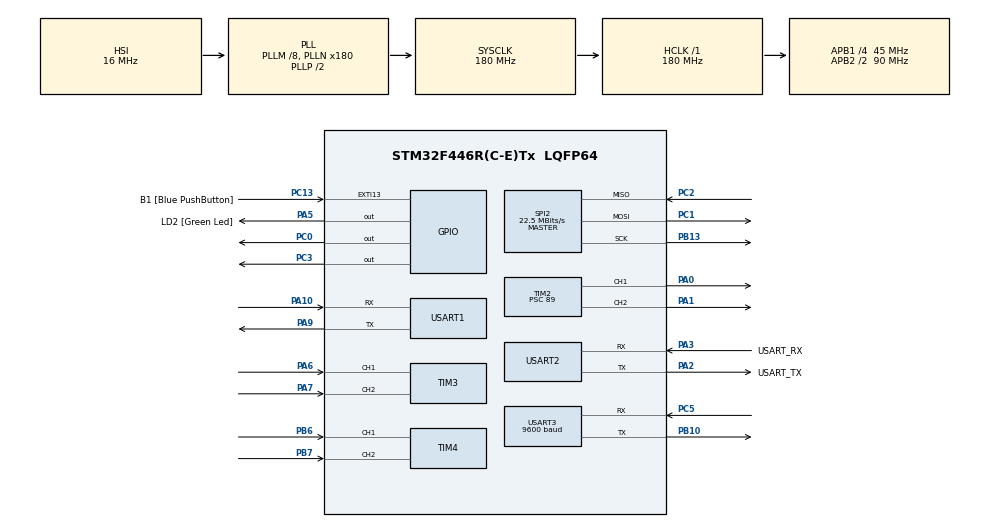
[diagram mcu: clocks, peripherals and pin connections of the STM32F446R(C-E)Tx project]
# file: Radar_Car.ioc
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Dma.Request0=USART3_TX
Dma.Request1=USART3_RX
Dma.USART3_RX.1.Direction=DMA_PERIPH_TO_MEMORY
Dma.USART3_RX.1.FIFOMode=DMA_FIFOMODE_DISABLE
Dma.USART3_RX.1.Instance=DMA1_Stream1
Dma.USART3_RX.1.MemDataAlignment=DMA_MDATAALIGN_BYTE
Dma.USART3_RX.1.MemInc=DMA_MINC_ENABLE
Dma.USART3_RX.1.Mode=DMA_NORMAL
Dma.USART3_RX.1.PeriphDataAlignment=DMA_PDATAALIGN_BYTE
Dma.USART3_RX.1.PeriphInc=DMA_PINC_DISABLE
Dma.USART3_RX.1.Priority=DMA_PRIORITY_LOW
Dma.USART3_TX.0.Direction=DMA_MEMORY_TO_PERIPH
Dma.USART3_TX.0.FIFOMode=DMA_FIFOMODE_DISABLE
Dma.USART3_TX.0.Instance=DMA1_Stream3
Dma.USART3_TX.0.MemDataAlignment=DMA_MDATAALIGN_BYTE
Dma.USART3_TX.0.MemInc=DMA_MINC_ENABLE
Dma.USART3_TX.0.Mode=DMA_NORMAL
Dma.USART3_TX.0.PeriphDataAlignment=DMA_PDATAALIGN_BYTE
Dma.USART3_TX.0.PeriphInc=DMA_PINC_DISABLE
Dma.USART3_TX.0.Priority=DMA_PRIORITY_LOW
FREERTOS.Mutexes01=SPI_Mutex,Dynamic,NULL,Available;UART_Mutex,Dynamic,NULL,Available
FREERTOS.Queues01=imuQueue,10,uint16_t,0,Dynamic,NULL,NULL;lidarQueue,5,uint16_t,0,Dynamic,NULL,NULL;odomQueue,10,uint16_t,0,Dynamic,NULL,NULL;cmdQueue,5,uint16_t,0,Dynamic,NULL,NULL
FREERTOS.Tasks01=defaultTask,24,128,StartDefaultTask,Default,NULL,Dynamic,NULL,NULL;ImuTask,40,256,imuTask,Default,NULL,Dynamic,NULL,NULL;LidarTask,24,512,lidarTask,Default,NULL,Dynamic,NULL,NULL;OdomTask,24,256,odomTask,Default,NULL,Dynamic,NULL,NULL;MotorCtrlTask,8,256,motorCtrlTask,Default,NULL,Dynamic,NULL,NULL;CommTask,8,512,commTask,Default,NULL,Dynamic,NULL,NULL
Mcu.Family=STM32F4
Mcu.Name=STM32F446R(C-E)Tx
Mcu.Package=LQFP64
NVIC.DMA1_Stream1_IRQn=true\:5\:0\:false\:false\:true\:true\:false\:true\:true
NVIC.DMA1_Stream3_IRQn=true\:5\:0\:false\:false\:true\:true\:false\:true\:true
NVIC.PriorityGroup=NVIC_PRIORITYGROUP_4
NVIC.TIM6_DAC_IRQn=true\:15\:0\:false\:false\:true\:false\:false\:true\:true
NVIC.TimeBase=TIM6_DAC_IRQn
NVIC.TimeBaseIP=TIM6
NVIC.USART3_IRQn=true\:5\:0\:false\:false\:true\:true\:true\:true\:true
PA0-WKUP.Signal=S_TIM2_CH1_ETR
PA1.Signal=S_TIM2_CH2
PA10.Mode=Asynchronous
PA10.Signal=USART1_RX
PA13.GPIO_Label=TMS
PA13.Signal=SYS_JTMS-SWDIO
PA14.GPIO_Label=TCK
PA14.Signal=SYS_JTCK-SWCLK
PA2.GPIO_Label=USART_TX
PA2.Mode=Asynchronous
PA2.Signal=USART2_TX
PA3.GPIO_Label=USART_RX
PA3.Mode=Asynchronous
PA3.Signal=USART2_RX
PA5.GPIO_Label=LD2 [Green Led]
PA5.PinState=GPIO_PIN_SET
PA5.Signal=GPIO_Output
PA6.Signal=S_TIM3_CH1
PA7.Signal=S_TIM3_CH2
PA9.Mode=Asynchronous
PA9.Signal=USART1_TX
PB10.Mode=Asynchronous
PB10.Signal=USART3_TX
PB13.Mode=Full_Duplex_Master
PB13.Signal=SPI2_SCK
PB3.GPIO_Label=SWO
PB3.Signal=SYS_JTDO-SWO
PB6.Signal=S_TIM4_CH1
PB7.Signal=S_TIM4_CH2
PC0.PinState=GPIO_PIN_SET
PC0.Signal=GPIO_Output
PC1.Mode=Full_Duplex_Master
PC1.Signal=SPI2_MOSI
PC13.GPIO_Label=B1 [Blue PushButton]
PC13.GPIO_ModeDefaultEXTI=GPIO_MODE_IT_FALLING
PC13.Signal=GPXTI13
PC14-OSC32_IN.Signal=RCC_OSC32_IN
PC15-OSC32_OUT.Signal=RCC_OSC32_OUT
PC2.Mode=Full_Duplex_Master
PC2.Signal=SPI2_MISO
PC3.PinState=GPIO_PIN_SET
PC3.Signal=GPIO_Output
PC5.Mode=Asynchronous
PC5.Signal=USART3_RX
PH0-OSC_IN.Signal=RCC_OSC_IN
PH1-OSC_OUT.Signal=RCC_OSC_OUT
ProjectManager.HeapSize=0x200
ProjectManager.StackSize=0x400
ProjectManager.TargetToolchain=CMake
RCC.AHBFreq_Value=180000000
RCC.APB1CLKDivider=RCC_HCLK_DIV4
RCC.APB1Freq_Value=45000000
RCC.APB1TimFreq_Value=90000000
RCC.APB2CLKDivider=RCC_HCLK_DIV2
RCC.APB2Freq_Value=90000000
RCC.APB2TimFreq_Value=180000000
RCC.CortexFreq_Value=180000000
RCC.FLatency-AdvancedSettings=FLASH_LATENCY_5
RCC.HCLKFreq_Value=180000000
RCC.HSE_VALUE=8000000
RCC.HSI_VALUE=16000000
RCC.LSE_VALUE=32768
RCC.PLLM=8
RCC.PLLN=180
RCC.SYSCLKFreq_VALUE=180000000
RCC.SYSCLKSource=RCC_SYSCLKSOURCE_PLLCLK
RCC.USBFreq_Value=180000000
RCC.VCOOutputFreq_Value=360000000
SH.S_TIM2_CH1_ETR.0=TIM2_CH1,PWM Generation1 CH1
SH.S_TIM2_CH2.0=TIM2_CH2,PWM Generation2 CH2
SH.S_TIM3_CH1.0=TIM3_CH1,Encoder_Interface
SH.S_TIM3_CH2.0=TIM3_CH2,Encoder_Interface
SH.S_TIM4_CH1.0=TIM4_CH1,Encoder_Interface
SH.S_TIM4_CH2.0=TIM4_CH2,Encoder_Interface
SPI2.CalculateBaudRate=22.5 MBits/s
SPI2.Direction=SPI_DIRECTION_2LINES
SPI2.Mode=SPI_MODE_MASTER
SPI2.VirtualType=VM_MASTER
TIM2.Channel-PWM\ Generation1\ CH1=TIM_CHANNEL_1
TIM2.Channel-PWM\ Generation2\ CH2=TIM_CHANNEL_2
TIM2.Period=999
TIM2.Prescaler=89
TIM3.EncoderMode=TIM_ENCODERMODE_TI12
TIM3.IC1Filter=10
TIM4.EncoderMode=TIM_ENCODERMODE_TI12
TIM4.IC1Filter=10
USART1.VirtualMode=VM_ASYNC
USART2.VirtualMode=VM_ASYNC
USART3.BaudRate=9600
USART3.VirtualMode=VM_ASYNC
VP_FREERTOS_VS_CMSIS_V2.Mode=CMSIS_V2
VP_SYS_VS_tim6.Mode=TIM6
board=NUCLEO-F446RE

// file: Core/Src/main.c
/* USER CODE BEGIN Header */
/**
  ******************************************************************************
  * @file           : main.c
  * @brief          : Main program body
  ******************************************************************************
  * @attention
  *
  * Copyright (c) 2025 STMicroelectronics.
  * All rights reserved.
  *
  * This software is licensed under terms that can be found in the LICENSE file
  * in the root directory of this software component.
  * If no LICENSE file comes with this software, it is provided AS-IS.
  *
  ******************************************************************************
  */
/* USER CODE END Header */
#include "main.h"
#include "cmsis_os.h"
#include "pid.h"
#include "encoder.h"
#include "comm_protocol.h"
#include "rplidar.h"

SPI_HandleTypeDef hspi2;

TIM_HandleTypeDef htim2;
TIM_HandleTypeDef htim3;
TIM_HandleTypeDef htim4;

UART_HandleTypeDef huart1;
UART_HandleTypeDef huart2;
UART_HandleTypeDef huart3;
DMA_HandleTypeDef hdma_usart3_tx;
DMA_HandleTypeDef hdma_usart3_rx;

/* Definitions for defaultTask */
osThreadId_t defaultTaskHandle;
const osThreadAttr_t defaultTask_attributes = {
  .name = "defaultTask",
  .stack_size = 128 * 4,
  .priority = (osPriority_t) osPriorityNormal,
};
/* Definitions for ImuTask */
osThreadId_t ImuTaskHandle;
const osThreadAttr_t ImuTask_attributes = {
  .name = "ImuTask",
  .stack_size = 256 * 4,
  .priority = (osPriority_t) osPriorityHigh,
};
/* Definitions for LidarTask */
osThreadId_t LidarTaskHandle;
const osThreadAttr_t LidarTask_attributes = {
  .name = "LidarTask",
  .stack_size = 512 * 4,
  .priority = (osPriority_t) osPriorityNormal,
};
/* Definitions for OdomTask */
osThreadId_t OdomTaskHandle;
const osThreadAttr_t OdomTask_attributes = {
  .name = "OdomTask",
  .stack_size = 256 * 4,
  .priority = (osPriority_t) osPriorityNormal,
};
/* Definitions for MotorCtrlTask */
osThreadId_t MotorCtrlTaskHandle;
const osThreadAttr_t MotorCtrlTask_attributes = {
  .name = "MotorCtrlTask",
  .stack_size = 256 * 4,
  .priority = (osPriority_t) osPriorityLow,
};
/* Definitions for CommTask */
osThreadId_t CommTaskHandle;
const osThreadAttr_t CommTask_attributes = {
  .name = "CommTask",
  .stack_size = 512 * 4,
  .priority = (osPriority_t) osPriorityLow,
};
/* Definitions for imuQueue */
osMessageQueueId_t imuQueueHandle;
const osMessageQueueAttr_t imuQueue_attributes = {
  .name = "imuQueue"
};
/* Definitions for lidarQueue */
osMessageQueueId_t lidarQueueHandle;
const osMessageQueueAttr_t lidarQueue_attributes = {
  .name = "lidarQueue"
};
/* Definitions for odomQueue */
osMessageQueueId_t odomQueueHandle;
const osMessageQueueAttr_t odomQueue_attributes = {
  .name = "odomQueue"
};
/* Definitions for cmdQueue */
osMessageQueueId_t cmdQueueHandle;
const osMessageQueueAttr_t cmdQueue_attributes = {
  .name = "cmdQueue"
};
/* Definitions for btCommQueue */
osMessageQueueId_t btCommQueueHandle;
const osMessageQueueAttr_t btCommQueue_attributes = {
  .name = "btCommQueue"
};
/* Definitions for lidarCommQueue */
osMessageQueueId_t lidarCommQueueHandle;
const osMessageQueueAttr_t lidarCommQueue_attributes = {
  .name = "lidarCommQueue"
};
/* Definitions for SPI_Mutex */
osMutexId_t SPI_MutexHandle;
const osMutexAttr_t SPI_Mutex_attributes = {
  .name = "SPI_Mutex"
};
/* Definitions for UART_Mutex */
osMutexId_t UART_MutexHandle;
const osMutexAttr_t UART_Mutex_attributes = {
  .name = "UART_Mutex"
};
/* USER CODE BEGIN PV */
uint8_t receiveData[100];
/* USER CODE END PV */

void SystemClock_Config(void);
static void MX_GPIO_Init(void);
static void MX_DMA_Init(void);
static void MX_USART3_UART_Init(void);
static void MX_TIM2_Init(void);
static void MX_SPI2_Init(void);
static void MX_TIM3_Init(void);
static void MX_TIM4_Init(void);
static void MX_USART1_UART_Init(void);
static void MX_USART2_UART_Init(void);
void StartDefaultTask(void *argument);
void imuTask(void *argument);
void lidarTask(void *argument);
void odomTask(void *argument);
void motorCtrlTask(void *argument);
void commTask(void *argument);

int main(void)
{

  /* MCU Configuration--------------------------------------------------------*/

  /* Reset of all peripherals, Initializes the Flash interface and the Systick. */
  HAL_Init();

  /* Configure the system clock */
  SystemClock_Config();

  /* Initialize all configured peripherals */
  MX_GPIO_Init();
  MX_DMA_Init();
  MX_USART3_UART_Init();
  MX_TIM2_Init();
  MX_SPI2_Init();
  MX_TIM3_Init();
  MX_TIM4_Init();
  MX_USART1_UART_Init();
  MX_USART2_UART_Init();
  /* USER CODE BEGIN 2 */
  Encoder_Init();  // 初始化编码器

  // 初始化雷达控制GPIO (PC0用于电机控制)
  GPIO_InitTypeDef GPIO_InitStruct = {0};
  __HAL_RCC_GPIOC_CLK_ENABLE();
  GPIO_InitStruct.Pin = GPIO_PIN_0;
  GPIO_InitStruct.Mode = GPIO_MODE_OUTPUT_PP;
  GPIO_InitStruct.Pull = GPIO_NOPULL;
  GPIO_InitStruct.Speed = GPIO_SPEED_FREQ_LOW;
  HAL_GPIO_Init(GPIOC, &GPIO_InitStruct);

  // 默认停止雷达电机
  HAL_GPIO_WritePin(GPIOC, GPIO_PIN_0, GPIO_PIN_RESET);

  /* USER CODE END 2 */

  /* Init scheduler */
  osKernelInitialize();
  /* Create the mutex(es) */
  /* creation of SPI_Mutex */
  SPI_MutexHandle = osMutexNew(&SPI_Mutex_attributes);

  /* creation of UART_Mutex */
  UART_MutexHandle = osMutexNew(&UART_Mutex_attributes);

  /* Create the queue(s) */
  /* creation of imuQueue */
  imuQueueHandle = osMessageQueueNew (10, sizeof(uint16_t), &imuQueue_attributes);

  /* creation of lidarQueue */
  lidarQueueHandle = osMessageQueueNew (5, sizeof(uint16_t), &lidarQueue_attributes);

  /* creation of odomQueue */
  odomQueueHandle = osMessageQueueNew (10, sizeof(uint16_t), &odomQueue_attributes);

  /* creation of cmdQueue */
  cmdQueueHandle = osMessageQueueNew (5, sizeof(MotorCtrlData_t), &cmdQueue_attributes);

  /* creation of btCommQueue */
  btCommQueueHandle = osMessageQueueNew (10, sizeof(CommFrame_t), &btCommQueue_attributes);

  /* creation of lidarCommQueue */
  lidarCommQueueHandle = osMessageQueueNew (5, sizeof(CommFrame_t), &lidarCommQueue_attributes);

  /* Create the thread(s) */
  /* creation of defaultTask */
  defaultTaskHandle = osThreadNew(StartDefaultTask, NULL, &defaultTask_attributes);

  /* creation of ImuTask */
  ImuTaskHandle = osThreadNew(imuTask, NULL, &ImuTask_attributes);

  /* creation of LidarTask */
  LidarTaskHandle = osThreadNew(lidarTask, NULL, &LidarTask_attributes);

  /* creation of OdomTask */
  OdomTaskHandle = osThreadNew(odomTask, NULL, &OdomTask_attributes);

  /* creation of MotorCtrlTask */
  MotorCtrlTaskHandle = osThreadNew(motorCtrlTask, NULL, &MotorCtrlTask_attributes);

  /* creation of CommTask */
  CommTaskHandle = osThreadNew(commTask, NULL, &CommTask_attributes);

  /* Start scheduler */
  osKernelStart();

  /* We should never get here as control is now taken by the scheduler */

  /* Infinite loop */
  while (1)
  {

  }
}

void SystemClock_Config(void)
{
  RCC_OscInitTypeDef RCC_OscInitStruct = {0};
  RCC_ClkInitTypeDef RCC_ClkInitStruct = {0};

  /** Configure the main internal regulator output voltage
  */
  __HAL_RCC_PWR_CLK_ENABLE();
  __HAL_PWR_VOLTAGESCALING_CONFIG(PWR_REGULATOR_VOLTAGE_SCALE1);

  /** Initializes the RCC Oscillators according to the specified parameters
  * in the RCC_OscInitTypeDef structure.
  */
  RCC_OscInitStruct.OscillatorType = RCC_OSCILLATORTYPE_HSI;
  RCC_OscInitStruct.HSIState = RCC_HSI_ON;
  RCC_OscInitStruct.HSICalibrationValue = RCC_HSICALIBRATION_DEFAULT;
  RCC_OscInitStruct.PLL.PLLState = RCC_PLL_ON;
  RCC_OscInitStruct.PLL.PLLSource = RCC_PLLSOURCE_HSI;
  RCC_OscInitStruct.PLL.PLLM = 8;
  RCC_OscInitStruct.PLL.PLLN = 180;
  RCC_OscInitStruct.PLL.PLLP = RCC_PLLP_DIV2;
  RCC_OscInitStruct.PLL.PLLQ = 2;
  RCC_OscInitStruct.PLL.PLLR = 2;
  if (HAL_RCC_OscConfig(&RCC_OscInitStruct) != HAL_OK)
  {
    Error_Handler();
  }

  /** Activate the Over-Drive mode
  */
  if (HAL_PWREx_EnableOverDrive() != HAL_OK)
  {
    Error_Handler();
  }

  /** Initializes the CPU, AHB and APB buses clocks
  */
  RCC_ClkInitStruct.ClockType = RCC_CLOCKTYPE_HCLK|RCC_CLOCKTYPE_SYSCLK
                              |RCC_CLOCKTYPE_PCLK1|RCC_CLOCKTYPE_PCLK2;
  RCC_ClkInitStruct.SYSCLKSource = RCC_SYSCLKSOURCE_PLLCLK;
  RCC_ClkInitStruct.AHBCLKDivider = RCC_SYSCLK_DIV1;
  RCC_ClkInitStruct.APB1CLKDivider = RCC_HCLK_DIV4;
  RCC_ClkInitStruct.APB2CLKDivider = RCC_HCLK_DIV2;

  if (HAL_RCC_ClockConfig(&RCC_ClkInitStruct, FLASH_LATENCY_5) != HAL_OK)
  {
    Error_Handler();
  }
}

static void MX_SPI2_Init(void)
{

  /* SPI2 parameter configuration*/
  hspi2.Instance = SPI2;
  hspi2.Init.Mode = SPI_MODE_MASTER;
  hspi2.Init.Direction = SPI_DIRECTION_2LINES;
  hspi2.Init.DataSize = SPI_DATASIZE_8BIT;
  hspi2.Init.CLKPolarity = SPI_POLARITY_LOW;
  hspi2.Init.CLKPhase = SPI_PHASE_1EDGE;
  hspi2.Init.NSS = SPI_NSS_SOFT;
  hspi2.Init.BaudRatePrescaler = SPI_BAUDRATEPRESCALER_2;
  hspi2.Init.FirstBit = SPI_FIRSTBIT_MSB;
  hspi2.Init.TIMode = SPI_TIMODE_DISABLE;
  hspi2.Init.CRCCalculation = SPI_CRCCALCULATION_DISABLE;
  hspi2.Init.CRCPolynomial = 10;
  if (HAL_SPI_Init(&hspi2) != HAL_OK)
  {
    Error_Handler();
  }

}

static void MX_TIM2_Init(void)
{

  TIM_MasterConfigTypeDef sMasterConfig = {0};
  TIM_OC_InitTypeDef sConfigOC = {0};

  htim2.Instance = TIM2;
  htim2.Init.Prescaler = 89;
  htim2.Init.CounterMode = TIM_COUNTERMODE_UP;
  htim2.Init.Period = 999;
  htim2.Init.ClockDivision = TIM_CLOCKDIVISION_DIV1;
  htim2.Init.AutoReloadPreload = TIM_AUTORELOAD_PRELOAD_DISABLE;
  if (HAL_TIM_PWM_Init(&htim2) != HAL_OK)
  {
    Error_Handler();
  }
  sMasterConfig.MasterOutputTrigger = TIM_TRGO_RESET;
  sMasterConfig.MasterSlaveMode = TIM_MASTERSLAVEMODE_DISABLE;
  if (HAL_TIMEx_MasterConfigSynchronization(&htim2, &sMasterConfig) != HAL_OK)
  {
    Error_Handler();
  }
  sConfigOC.OCMode = TIM_OCMODE_PWM1;
  sConfigOC.Pulse = 0;
  sConfigOC.OCPolarity = TIM_OCPOLARITY_HIGH;
  sConfigOC.OCFastMode = TIM_OCFAST_DISABLE;
  if (HAL_TIM_PWM_ConfigChannel(&htim2, &sConfigOC, TIM_CHANNEL_1) != HAL_OK)
  {
    Error_Handler();
  }
  if (HAL_TIM_PWM_ConfigChannel(&htim2, &sConfigOC, TIM_CHANNEL_2) != HAL_OK)
  {
    Error_Handler();
  }
  HAL_TIM_MspPostInit(&htim2);

}

static void MX_TIM3_Init(void)
{

  TIM_Encoder_InitTypeDef sConfig = {0};
  TIM_MasterConfigTypeDef sMasterConfig = {0};

  htim3.Instance = TIM3;
  htim3.Init.Prescaler = 0;
  htim3.Init.CounterMode = TIM_COUNTERMODE_UP;
  htim3.Init.Period = 65535;
  htim3.Init.ClockDivision = TIM_CLOCKDIVISION_DIV1;
  htim3.Init.AutoReloadPreload = TIM_AUTORELOAD_PRELOAD_DISABLE;
  sConfig.EncoderMode = TIM_ENCODERMODE_TI12;
  sConfig.IC1Polarity = TIM_ICPOLARITY_RISING;
  sConfig.IC1Selection = TIM_ICSELECTION_DIRECTTI;
  sConfig.IC1Prescaler = TIM_ICPSC_DIV1;
  sConfig.IC1Filter = 10;
  sConfig.IC2Polarity = TIM_ICPOLARITY_RISING;
  sConfig.IC2Selection = TIM_ICSELECTION_DIRECTTI;
  sConfig.IC2Prescaler = TIM_ICPSC_DIV1;
  sConfig.IC2Filter = 0;
  if (HAL_TIM_Encoder_Init(&htim3, &sConfig) != HAL_OK)
  {
    Error_Handler();
  }
  sMasterConfig.MasterOutputTrigger = TIM_TRGO_RESET;
  sMasterConfig.MasterSlaveMode = TIM_MASTERSLAVEMODE_DISABLE;
  if (HAL_TIMEx_MasterConfigSynchronization(&htim3, &sMasterConfig) != HAL_OK)
  {
    Error_Handler();
  }

}

static void MX_TIM4_Init(void)
{

  TIM_Encoder_InitTypeDef sConfig = {0};
  TIM_MasterConfigTypeDef sMasterConfig = {0};

  htim4.Instance = TIM4;
  htim4.Init.Prescaler = 0;
  htim4.Init.CounterMode = TIM_COUNTERMODE_UP;
  htim4.Init.Period = 65535;
  htim4.Init.ClockDivision = TIM_CLOCKDIVISION_DIV1;
  htim4.Init.AutoReloadPreload = TIM_AUTORELOAD_PRELOAD_DISABLE;
  sConfig.EncoderMode = TIM_ENCODERMODE_TI12;
  sConfig.IC1Polarity = TIM_ICPOLARITY_RISING;
  sConfig.IC1Selection = TIM_ICSELECTION_DIRECTTI;
  sConfig.IC1Prescaler = TIM_ICPSC_DIV1;
  sConfig.IC1Filter = 10;
  sConfig.IC2Polarity = TIM_ICPOLARITY_RISING;
  sConfig.IC2Selection = TIM_ICSELECTION_DIRECTTI;
  sConfig.IC2Prescaler = TIM_ICPSC_DIV1;
  sConfig.IC2Filter = 0;
  if (HAL_TIM_Encoder_Init(&htim4, &sConfig) != HAL_OK)
  {
    Error_Handler();
  }
  sMasterConfig.MasterOutputTrigger = TIM_TRGO_RESET;
  sMasterConfig.MasterSlaveMode = TIM_MASTERSLAVEMODE_DISABLE;
  if (HAL_TIMEx_MasterConfigSynchronization(&htim4, &sMasterConfig) != HAL_OK)
  {
    Error_Handler();
  }

}

static void MX_USART1_UART_Init(void)
{

  huart1.Instance = USART1;
  huart1.Init.BaudRate = 115200;
  huart1.Init.WordLength = UART_WORDLENGTH_8B;
  huart1.Init.StopBits = UART_STOPBITS_1;
  huart1.Init.Parity = UART_PARITY_NONE;
  huart1.Init.Mode = UART_MODE_TX_RX;
  huart1.Init.HwFlowCtl = UART_HWCONTROL_NONE;
  huart1.Init.OverSampling = UART_OVERSAMPLING_16;
  if (HAL_UART_Init(&huart1) != HAL_OK)
  {
    Error_Handler();
  }

}

static void MX_USART2_UART_Init(void)
{

  huart2.Instance = USART2;
  huart2.Init.BaudRate = 115200;
  huart2.Init.WordLength = UART_WORDLENGTH_8B;
  huart2.Init.StopBits = UART_STOPBITS_1;
  huart2.Init.Parity = UART_PARITY_NONE;
  huart2.Init.Mode = UART_MODE_TX_RX;
  huart2.Init.HwFlowCtl = UART_HWCONTROL_NONE;
  huart2.Init.OverSampling = UART_OVERSAMPLING_16;
  if (HAL_UART_Init(&huart2) != HAL_OK)
  {
    Error_Handler();
  }

}

static void MX_USART3_UART_Init(void)
{

  huart3.Instance = USART3;
  huart3.Init.BaudRate = 9600;
  huart3.Init.WordLength = UART_WORDLENGTH_8B;
  huart3.Init.StopBits = UART_STOPBITS_1;
  huart3.Init.Parity = UART_PARITY_NONE;
  huart3.Init.Mode = UART_MODE_TX_RX;
  huart3.Init.HwFlowCtl = UART_HWCONTROL_NONE;
  huart3.Init.OverSampling = UART_OVERSAMPLING_16;
  if (HAL_UART_Init(&huart3) != HAL_OK)
  {
    Error_Handler();
  }

}

static void MX_DMA_Init(void)
{

  /* DMA controller clock enable */
  __HAL_RCC_DMA1_CLK_ENABLE();

  /* DMA interrupt init */
  /* DMA1_Stream1_IRQn interrupt configuration */
  HAL_NVIC_SetPriority(DMA1_Stream1_IRQn, 5, 0);
  HAL_NVIC_EnableIRQ(DMA1_Stream1_IRQn);
  /* DMA1_Stream3_IRQn interrupt configuration */
  HAL_NVIC_SetPriority(DMA1_Stream3_IRQn, 5, 0);
  HAL_NVIC_EnableIRQ(DMA1_Stream3_IRQn);

}

static void MX_GPIO_Init(void)
{
  GPIO_InitTypeDef GPIO_InitStruct = {0};

  /* GPIO Ports Clock Enable */
  __HAL_RCC_GPIOC_CLK_ENABLE();
  __HAL_RCC_GPIOH_CLK_ENABLE();
  __HAL_RCC_GPIOA_CLK_ENABLE();
  __HAL_RCC_GPIOB_CLK_ENABLE();

  /*Configure GPIO pin Output Level */
  HAL_GPIO_WritePin(GPIOC, GPIO_PIN_0|GPIO_PIN_3, GPIO_PIN_SET);

  /*Configure GPIO pin Output Level */
  HAL_GPIO_WritePin(LD2_GPIO_Port, LD2_Pin, GPIO_PIN_SET);

  /*Configure GPIO pin : B1_Pin */
  GPIO_InitStruct.Pin = B1_Pin;
  GPIO_InitStruct.Mode = GPIO_MODE_IT_FALLING;
  GPIO_InitStruct.Pull = GPIO_NOPULL;
  HAL_GPIO_Init(B1_GPIO_Port, &GPIO_InitStruct);

  /*Configure GPIO pins : PC0 PC3 */
  GPIO_InitStruct.Pin = GPIO_PIN_0|GPIO_PIN_3;
  GPIO_InitStruct.Mode = GPIO_MODE_OUTPUT_PP;
  GPIO_InitStruct.Pull = GPIO_NOPULL;
  GPIO_InitStruct.Speed = GPIO_SPEED_FREQ_LOW;
  HAL_GPIO_Init(GPIOC, &GPIO_InitStruct);

  /*Configure GPIO pin : LD2_Pin */
  GPIO_InitStruct.Pin = LD2_Pin;
  GPIO_InitStruct.Mode = GPIO_MODE_OUTPUT_PP;
  GPIO_InitStruct.Pull = GPIO_NOPULL;
  GPIO_InitStruct.Speed = GPIO_SPEED_FREQ_LOW;
  HAL_GPIO_Init(LD2_GPIO_Port, &GPIO_InitStruct);

}

void StartDefaultTask(void *argument)
{
  /* USER CODE BEGIN 5 */
  (void)argument; // 避免未使用参数警告
  /* Infinite loop */
  for(;;)
  {
    osDelay(1);
  }
  /* USER CODE END 5 */
}

void imuTask(void *argument)
{
  /* USER CODE BEGIN imuTask */
  (void)argument; // 避免未使用参数警告
  /* Infinite loop */
  for(;;)
  {
    osDelay(1);
  }
  /* USER CODE END imuTask */
}

void lidarTask(void *argument)
{
  /* USER CODE BEGIN lidarTask */
  (void)argument; // 避免未使用参数警告

  // 初始化雷达
  RPLidar_Init();

  // 等待初始化完成
  osDelay(2000);

  /* Infinite loop */
  for(;;)
  {
    // 解析雷达应答数据
    if (RPLidar_ParseResponse()) {
      // 数据已处理并发送到上位机
    }

    // 定期发送雷达状态 (每5秒)
    // static uint32_t status_timer = 0;
    // if (HAL_GetTick() - status_timer >= 5000) {
    //   RPLidar_SendStatusToPC();
    //   status_timer = HAL_GetTick();
    // }

    osDelay(10); // 10ms循环周期
  }
  /* USER CODE END lidarTask */
}

void odomTask(void *argument)
{
  /* USER CODE BEGIN odomTask */
  (void)argument; // 避免未使用参数警告
  /* Infinite loop */
  for(;;)
  {
    osDelay(1);
  }
  /* USER CODE END odomTask */
}

void motorCtrlTask(void *argument)
{
    (void)argument; // 避免未使用参数警告
    // PID结构体定义与初始化
    PID_TypeDef pid_left, pid_right;
    PID_Init(&pid_left, 1.0f, 0.01f, 0.1f);   // 参数可根据实际调整
    PID_Init(&pid_right, 1.0f, 0.01f, 0.1f);
    pid_left.setpoint = 0;   // 初始目标速度
    pid_right.setpoint = 0;

    // 启动PWM输出
    HAL_TIM_PWM_Start(&htim2, TIM_CHANNEL_1);
    HAL_TIM_PWM_Start(&htim2, TIM_CHANNEL_2);

    MotorCtrlData_t motor_cmd;

    for(;;)
    {
        // 检查是否有新的电机控制命令
        if (osMessageQueueGet(cmdQueueHandle, &motor_cmd, NULL, 0) == osOK) {
            // 更新目标速度
            pid_left.setpoint = motor_cmd.left_speed;
            pid_right.setpoint = motor_cmd.right_speed;
        }

        // 更新编码器速度
        Update_Motor_Speed();

        // 获取当前电机速度
        float speed_left = GetMotorSpeed(LEFT);
        float speed_right = GetMotorSpeed(RIGHT);

        // PID计算
        float pwm_left = PID_Calc(&pid_left, speed_left);
        float pwm_right = PID_Calc(&pid_right, speed_right);

        // 限幅
        if(pwm_left < 0) pwm_left = 0;
        if(pwm_left > 999) pwm_left = 999;
        if(pwm_right < 0) pwm_right = 0;
        if(pwm_right > 999) pwm_right = 999;

        __HAL_TIM_SET_COMPARE(&htim2, TIM_CHANNEL_1, (uint16_t)pwm_left);
        __HAL_TIM_SET_COMPARE(&htim2, TIM_CHANNEL_2, (uint16_t)pwm_right);

        osDelay(10); // 10ms周期
    }
}

void commTask(void *argument)
{
  /* USER CODE BEGIN commTask */
  (void)argument; // 避免未使用参数警告
  CommFrame_t rx_frame;
  uint32_t heartbeat_timer = 0;

  // 初始化通信协议
  Comm_Init();

  /* Infinite loop */
  for(;;)
  {
    // 处理蓝牙接收到的帧
    if (BT_ParseFrame(&rx_frame)) {
      Comm_HandleCommand(&rx_frame, 0); // 0表示来自蓝牙
    }

    // 处理雷达接收到的帧 (如果有雷达通信协议帧)
    if (Lidar_ParseFrame(&rx_frame)) {
      Comm_HandleCommand(&rx_frame, 1); // 1表示来自雷达
    }

    // 每1秒发送一次心跳包
    if (HAL_GetTick() - heartbeat_timer >= 1000) {
      Comm_SendHeartbeat();
      heartbeat_timer = HAL_GetTick();
    }

    // // 定期发送状态信息 (每100ms)
    // static uint32_t status_timer = 0;
    // if (HAL_GetTick() - status_timer >= 100) {
    //   Comm_SendMotorStatus();
    //   status_timer = HAL_GetTick();
    // }

    osDelay(10); // 10ms循环周期
  }
  /* USER CODE END commTask */
}

void HAL_TIM_PeriodElapsedCallback(TIM_HandleTypeDef *htim)
{
  if (htim->Instance == TIM6)
  {
    HAL_IncTick();
  }
}

void Error_Handler(void)
{
  __disable_irq();
  while (1)
  {
  }
}
